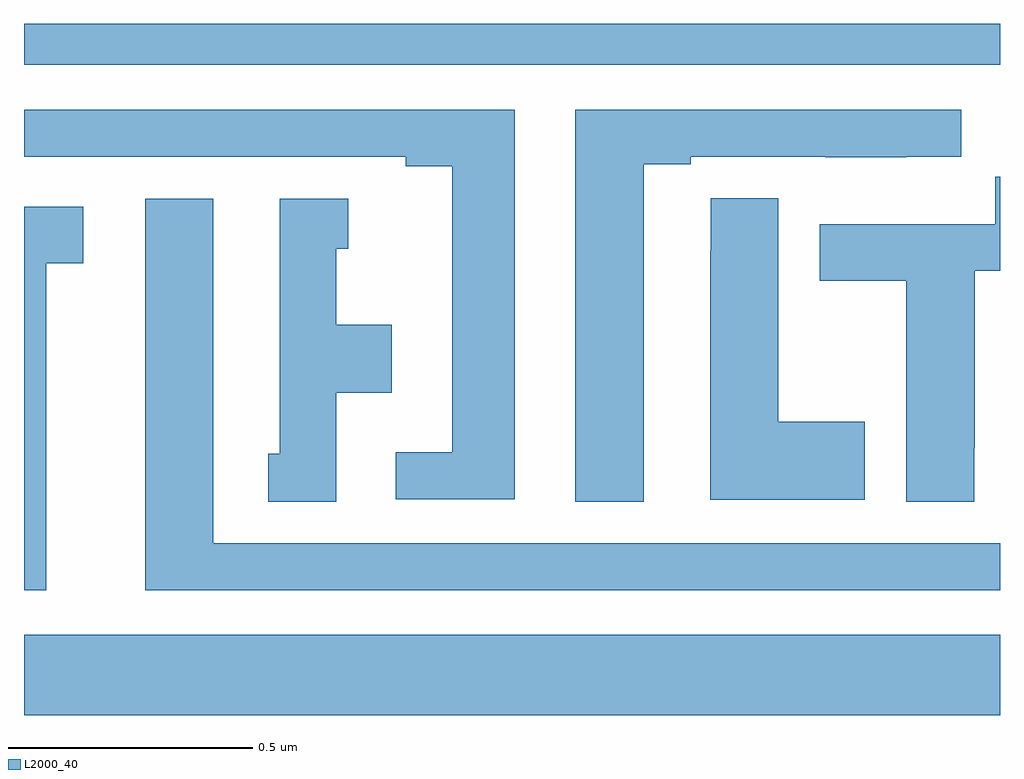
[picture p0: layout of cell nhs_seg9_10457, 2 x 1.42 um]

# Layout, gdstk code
import gdstk
lib = gdstk.Library(unit=1e-6, precision=1e-09)
def R(c, l, rs):  # rectangles x0, y0, x1, y1
    for r in rs: c.add(gdstk.rectangle(r[:2], r[2:], *l))
def P(c, l, *ps):  # polygons
    for p in ps: c.add(gdstk.Polygon(p, *l))
L2000_40 = (2000, 40)

nhs_seg9_10457 = lib.new_cell('nhs_seg9_10457')
R(nhs_seg9_10457, L2000_40, [(243,1199.084,245,1199.248), (243,1200.416,245,1200.5)])
P(nhs_seg9_10457, L2000_40, [(244.006,1200.324),(243,1200.324),(243,1200.228),(243.782,1200.228),(243.782,1200.208),(243.878,1200.208),(243.878,1199.622),(243.762,1199.622),(243.762,1199.526),(244.006,1199.526)],
  [(244.27,1200.213),(244.366,1200.213),(244.366,1200.228),(244.642,1200.228),(244.642,1200.227),(244.808,1200.227),(244.808,1200.228),(244.921,1200.228),(244.921,1200.324),(244.13,1200.324),(244.13,1199.521),(244.27,1199.521)],
  [(244.947,1199.632),(244.948,1199.632),(244.948,1199.994),(245,1199.994),(245,1200.187),(244.99,1200.187),(244.99,1200.09),(244.631,1200.09),(244.631,1199.974),(244.808,1199.974),(244.808,1199.521),(244.947,1199.521)],
  [(244.723,1199.685),(244.546,1199.685),(244.546,1200.143),(244.407,1200.143),(244.407,1200.035),(244.406,1200.035),(244.406,1199.525),(244.723,1199.525)],
  [(245,1199.436),(243.388,1199.436),(243.388,1200.142),(243.248,1200.142),(243.248,1199.34),(245,1199.34)],
  [(243.64,1199.744),(243.754,1199.744),(243.754,1199.884),(243.64,1199.884),(243.64,1200.039),(243.664,1200.039),(243.664,1200.142),(243.524,1200.142),(243.524,1199.619),(243.5,1199.619),(243.5,1199.521),(243.64,1199.521)],
  [(243.046,1200.01),(243.121,1200.01),(243.121,1200.126),(243,1200.126),(243,1199.34),(243.046,1199.34)])

lib.write_gds('nhs_seg9_10457.gds')
